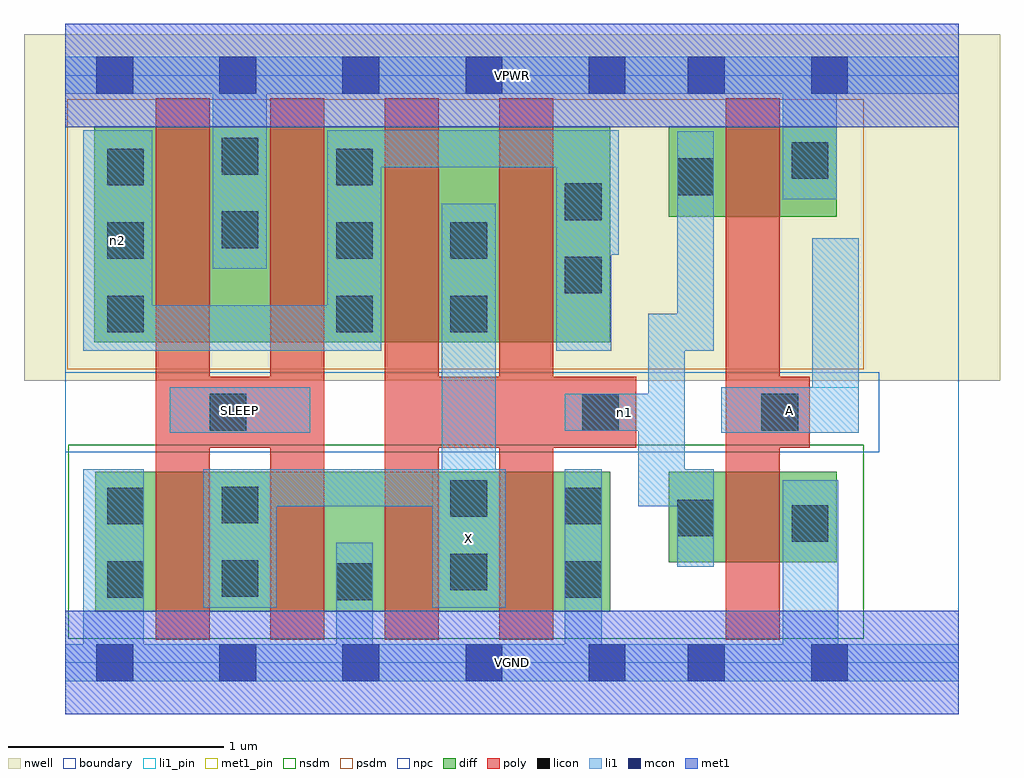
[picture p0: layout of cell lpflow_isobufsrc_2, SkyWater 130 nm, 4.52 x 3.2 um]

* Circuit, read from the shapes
.subckt lpflow_isobufsrc_2 A SLEEP VGND VPWR X n1 n2
XM1 X SLEEP VGND VSUBS sky130_fd_pr__nfet_01v8 w=0.65 l=0.25 m=2
XM2 X n1 VGND VSUBS sky130_fd_pr__nfet_01v8 w=0.65 l=0.25 m=2
XM3 VGND A n1 VSUBS sky130_fd_pr__nfet_01v8 w=0.42 l=0.25
XM4 VPWR SLEEP n2 n3 sky130_fd_pr__pfet_01v8 w=1 l=0.25 m=2
XM5 X n1 n2 n3 sky130_fd_pr__pfet_01v8 w=1 l=0.25 m=2
XM6 VPWR A n1 n3 sky130_fd_pr__pfet_01v8 w=0.42 l=0.25
.ends

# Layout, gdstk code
import gdstk
lib = gdstk.Library(unit=1e-6, precision=1e-09)
def R(c, l, rs):  # rectangles x0, y0, x1, y1
    for r in rs: c.add(gdstk.rectangle(r[:2], r[2:], *l))
def A(c, l, x, y, w, h, nx, ny, dx, dy):  # array of equal rectangles
    R(c, l, [(x+i*dx, y+j*dy, x+i*dx+w, y+j*dy+h) for i in range(nx) for j in range(ny)])
nwell = (64, 20)
diff = (65, 20)
poly = (66, 20)
licon = (66, 44)
li1_pin = (67, 16)
li1 = (67, 20)
mcon = (67, 44)
met1_pin = (68, 16)
met1 = (68, 20)
nsdm = (93, 44)
psdm = (94, 20)
npc = (95, 20)
boundary = (235, 4)

lpflow_isobufsrc_2 = lib.new_cell('lpflow_isobufsrc_2')
R(lpflow_isobufsrc_2, nwell, [(-0.19,1.305,4.33,2.91), (0,1.305,4.14,2.91)])
R(lpflow_isobufsrc_2, diff, [(0.14,0.235,2.525,0.885), (2.795,0.465,3.575,0.885), (0.135,1.485,2.525,2.485), (2.795,2.065,3.575,2.485)])
A(lpflow_isobufsrc_2, poly, 0.42, 0.105, 0.25, 2.51, 4, 1, 0.53, 0)
R(lpflow_isobufsrc_2, poly, [(3.06,0.105,3.31,2.615), (0.42,0.995,1.2,1.325), (1.48,0.995,2.645,1.325), (3.06,0.995,3.45,1.325)])
A(lpflow_isobufsrc_2, licon, 0.195, 1.53, 0.17, 0.17, 1, 3, 0, 0.34)
A(lpflow_isobufsrc_2, licon, 1.255, 1.53, 0.17, 0.17, 1, 3, 0, 0.34)
R(lpflow_isobufsrc_2, licon, [(1.255,0.29,1.425,0.46), (0.195,0.3,0.365,0.47), (2.315,0.3,2.485,0.47), (0.725,0.305,0.895,0.475), (1.785,0.335,1.955,0.505), (3.365,0.56,3.535,0.73), (2.835,0.585,3.005,0.755), (0.195,0.64,0.365,0.81), (2.315,0.64,2.485,0.81), (0.725,0.645,0.895,0.815), (1.785,0.675,1.955,0.845), (0.67,1.075,0.84,1.245), (2.395,1.075,2.565,1.245), (3.225,1.075,3.395,1.245), (1.785,1.53,1.955,1.7), (2.315,1.71,2.485,1.88), (1.785,1.87,1.955,2.04), (0.725,1.92,0.895,2.09), (2.315,2.05,2.485,2.22), (2.835,2.165,3.005,2.335), (3.365,2.24,3.535,2.41), (0.725,2.26,0.895,2.43)])
R(lpflow_isobufsrc_2, li1_pin, [(1.7,0.255,2.04,0.895), (0.485,1.065,1.135,1.275), (3.04,1.065,3.675,1.275)])
R(lpflow_isobufsrc_2, li1, [(0,-0.085,4.14,0.085), (0.085,-0.085,0.365,0.895), (1.255,-0.085,1.425,0.555), (2.315,-0.085,2.485,0.895), (3.325,-0.085,3.58,0.845), (0.64,0.255,0.98,0.895), (1.7,0.255,2.04,0.895), (1.745,0.255,1.995,2.125), (2.835,0.445,3.005,0.895), (0.64,0.725,2.04,0.895), (2.655,0.725,2.87,1.245), (2.7,0.725,2.87,1.615), (0.485,1.065,1.135,1.275), (3.04,1.065,3.675,1.275), (3.46,1.065,3.675,1.965), (2.315,1.075,2.87,1.245), (0.085,1.445,0.405,2.465), (0.085,1.445,1.465,1.655), (1.215,1.445,1.465,2.465), (2.275,1.445,2.53,2.465), (2.835,1.445,3.005,2.46), (0.685,1.825,0.935,2.805), (2.275,1.89,2.565,2.465), (3.325,2.145,3.575,2.805), (1.215,2.295,2.565,2.465), (0,2.635,4.14,2.805)])
A(lpflow_isobufsrc_2, mcon, 0.145, -0.085, 0.17, 0.17, 5, 2, 0.57, 2.72)
R(lpflow_isobufsrc_2, mcon, [(2.885,-0.085,3.055,0.085), (3.455,-0.085,3.625,0.085), (2.885,2.635,3.055,2.805), (3.455,2.635,3.625,2.805)])
R(lpflow_isobufsrc_2, met1_pin, [(0,-0.24,4.14,0.24), (0,2.48,4.14,2.96)])
R(lpflow_isobufsrc_2, met1, [(0,-0.24,4.14,0.24), (0,2.48,4.14,2.96)])
R(lpflow_isobufsrc_2, nsdm, [(0.015,0.11,3.7,1.01)])
R(lpflow_isobufsrc_2, psdm, [(0.01,1.36,3.7,2.61)])
R(lpflow_isobufsrc_2, npc, [(0,0.975,3.77,1.345)])
R(lpflow_isobufsrc_2, boundary, [(0,0,4.14,2.72)])
lpflow_isobufsrc_2.add(gdstk.Label('A', (3.357,1.17), layer=67, texttype=5))
lpflow_isobufsrc_2.add(gdstk.Label('SLEEP', (0.81,1.17), layer=67, texttype=5))
lpflow_isobufsrc_2.add(gdstk.Label('X', (1.87,0.575), layer=67, texttype=5))
lpflow_isobufsrc_2.add(gdstk.Label('n1', (2.592,1.16), layer=67, texttype=5))
lpflow_isobufsrc_2.add(gdstk.Label('n2', (0.245,1.955), layer=67, texttype=5))
lpflow_isobufsrc_2.add(gdstk.Label('VPWR', (2.07,2.72), layer=68, texttype=5))
lpflow_isobufsrc_2.add(gdstk.Label('VGND', (2.07,0), layer=68, texttype=5))
lpflow_isobufsrc_2.add(gdstk.Label('A', (3.357,1.17), layer=67, texttype=16))
lpflow_isobufsrc_2.add(gdstk.Label('SLEEP', (0.81,1.17), layer=67, texttype=16))
lpflow_isobufsrc_2.add(gdstk.Label('X', (1.87,0.575), layer=67, texttype=16))
lpflow_isobufsrc_2.add(gdstk.Label('VPWR', (2.07,2.72), layer=68, texttype=16))
lpflow_isobufsrc_2.add(gdstk.Label('VGND', (2.07,0), layer=68, texttype=16))

lib.write_gds('lpflow_isobufsrc_2.gds')
